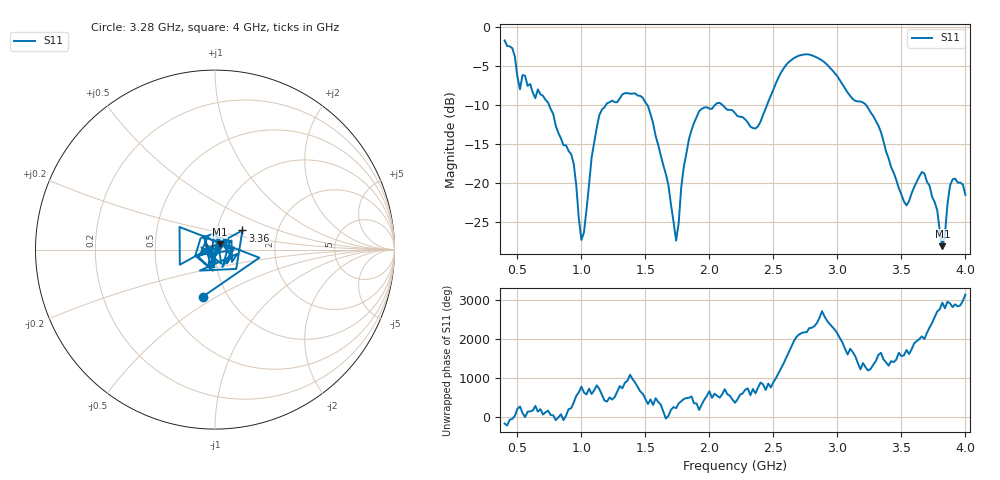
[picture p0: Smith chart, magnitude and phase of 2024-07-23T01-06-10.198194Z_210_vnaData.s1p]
!Created with skrf (http://scikit-rf.org).
# Hz S RI R 50.0
!freq ReS11 ImS11
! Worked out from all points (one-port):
!   181 points, 400 MHz to 4 GHz, reference 50 ohm
!   lowest |S11| = -28.1 dB at 3.82 GHz (marker M1), VSWR 1.08, Z = 52.7 + j3.03 ohm
!   |S11| at or under -10 dB: 748.4 MHz to 1.19 GHz (441.5 MHz wide, 45.6 % of centre); 1.517 GHz to 2.041 GHz (524.5 MHz wide, 29.5 % of centre); 3.225 GHz to end of sweep (the widest 3 of 4)
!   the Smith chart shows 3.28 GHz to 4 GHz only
!   S11 on the Smith chart (normalised r, x): 3.28 GHz: 0.77, -0.43; 3.36 GHz: 1.32, +0.29; 4 GHz: 0.95, -0.16
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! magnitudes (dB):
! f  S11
! 400 MHz  -1.7
! 460 MHz  -2.7
! 520 MHz  -7.9
! 700 MHz  -8.8
! 860 MHz  -15.1
! 940 MHz  -17.5
! 1 GHz  -27.3
! 1.14 GHz  -11.3
! 1.3 GHz  -9.1
! 1.52 GHz  -10.1
! 1.68 GHz  -20.3
! 1.74 GHz  -27.4
! 1.76 GHz  -25.1
! 1.8 GHz  -17.9
! 1.92 GHz  -10.7
! 2.2 GHz  -11.0
! 2.38 GHz  -12.7
! 2.66 GHz  -3.9
! 2.88 GHz  -4.2
! 3.1 GHz  -8.8
! 3.28 GHz  -11.4
! 3.36 GHz  -14.6
! 3.56 GHz  -22.3
! 3.68 GHz  -18.7
! 3.78 GHz  -23.5
! 3.82 GHz  -28.1
! 3.9 GHz  -19.5
! 4 GHz  -21.5
